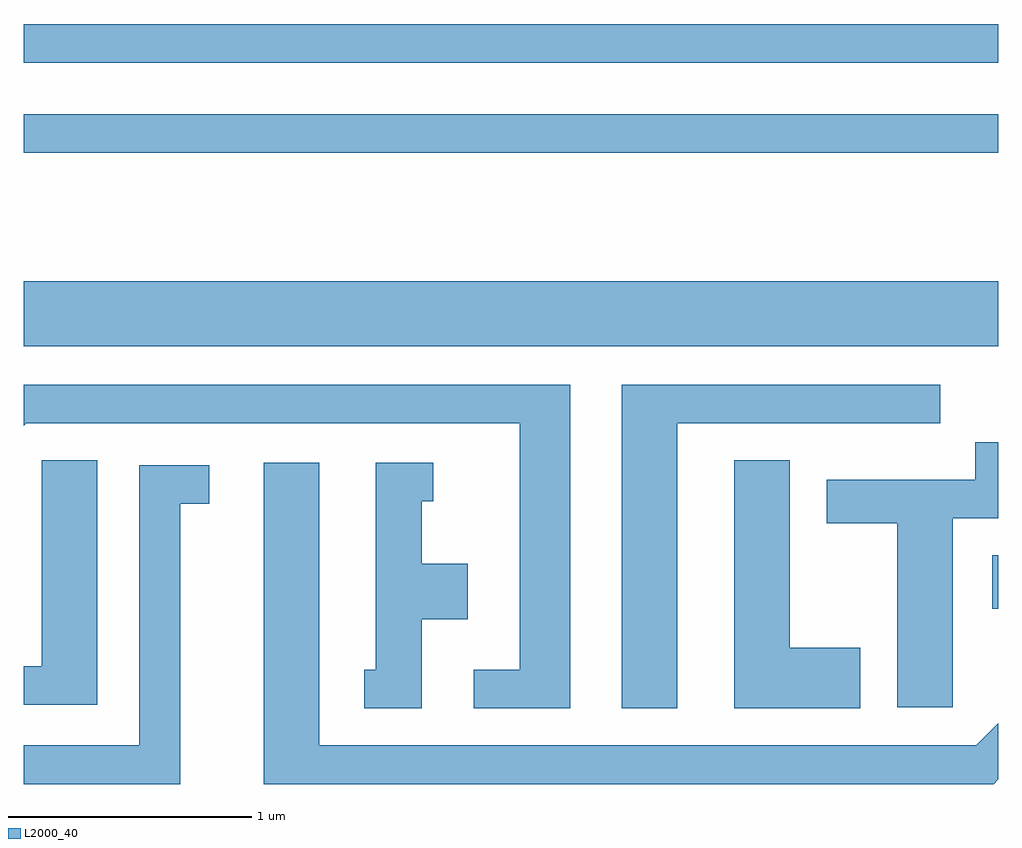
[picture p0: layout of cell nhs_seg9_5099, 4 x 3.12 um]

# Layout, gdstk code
import gdstk
lib = gdstk.Library(unit=1e-6, precision=1e-09)
def R(c, l, rs):  # rectangles x0, y0, x1, y1
    for r in rs: c.add(gdstk.rectangle(r[:2], r[2:], *l))
def P(c, l, *ps):  # polygons
    for p in ps: c.add(gdstk.Polygon(p, *l))
L2000_40 = (2000, 40)

nhs_seg9_5099 = lib.new_cell('nhs_seg9_5099')
R(nhs_seg9_5099, L2000_40, [(339.586,1995.181,339.611,1995.399), (335.611,1996.256,339.611,1996.524), (335.611,1997.051,339.611,1997.209), (335.611,1997.421,339.611,1997.579)])
P(nhs_seg9_5099, L2000_40, [(337.854,1996.099),(335.611,1996.099),(335.611,1995.93),(335.622,1995.941),(337.646,1995.941),(337.646,1994.929),(337.458,1994.929),(337.458,1994.771),(337.854,1994.771)],
  [(338.294,1995.941),(339.373,1995.941),(339.373,1996.099),(338.066,1996.099),(338.066,1994.771),(338.294,1994.771)],
  [(339.424,1995.551),(339.611,1995.551),(339.611,1995.863),(339.516,1995.863),(339.516,1995.709),(338.906,1995.709),(338.906,1995.531),(339.196,1995.531),(339.196,1994.776),(339.424,1994.776)],
  [(335.914,1995.789),(335.686,1995.789),(335.686,1994.944),(335.611,1994.944),(335.611,1994.786),(335.914,1994.786)],
  [(339.044,1995.019),(338.754,1995.019),(338.754,1995.789),(338.526,1995.789),(338.526,1994.771),(339.044,1994.771)],
  [(337.244,1995.136),(337.434,1995.136),(337.434,1995.364),(337.244,1995.364),(337.244,1995.621),(337.293,1995.621),(337.293,1995.779),(337.056,1995.779),(337.056,1994.929),(337.008,1994.929),(337.008,1994.771),(337.244,1994.771)],
  [(339.611,1994.48),(339.611,1994.711),(339.519,1994.619),(336.824,1994.619),(336.824,1995.779),(336.596,1995.779),(336.596,1994.461),(339.592,1994.461)],
  [(336.254,1995.611),(336.373,1995.611),(336.373,1995.769),(336.086,1995.769),(336.086,1994.619),(335.611,1994.619),(335.611,1994.461),(336.254,1994.461)])

lib.write_gds('nhs_seg9_5099.gds')
